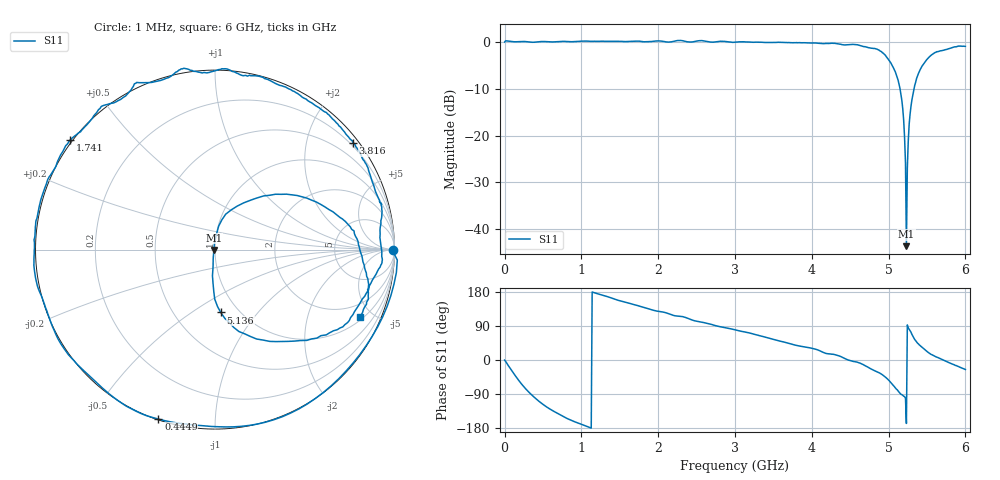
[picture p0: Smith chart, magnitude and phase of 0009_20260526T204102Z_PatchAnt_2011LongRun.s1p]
# Hz S RI R 50
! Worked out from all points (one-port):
!   501 points, 1 MHz to 6 GHz, reference 50 ohm
!   lowest |S11| = -43.6 dB at 5.232 GHz (marker M1), VSWR 1.01, Z = 49.4 - j0.142 ohm
!   |S11| at or under -10 dB: 5.149 GHz to 5.332 GHz (183.2 MHz wide, 3.5 % of centre)
!   S11 on the Smith chart (normalised r, x): 1 MHz: open; 444.9 MHz: 0.00, -0.72; 1.741 GHz: -0.01, +0.33; 3.816 GHz: 0.13, +2.92; 5.136 GHz: 0.83, -0.66; 6 GHz: 1.17, -4.20
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1000000  0.9894 -0.00498
8.4986e7  0.9061 -0.4311
2.16964e8  0.4674 -0.8876
3.0095e8  0.1453 -0.9847
4.44926e8  -0.315 -0.9441
7.56874e8  -0.8562 -0.5289
1.068822e9  -1.009 -0.0877
1.50075e9  -0.9236 0.4057
1.74071e9  -0.8088 0.6085
2.256624e9  -0.449 0.9241
3.0005e9  0.1807 0.9665
3.756374e9  0.7362 0.6356
3.816364e9  0.769 0.5951
4.308282e9  0.9288 0.2261
4.50025e9  0.9293 -0.0235
4.86019e9  0.6961 -0.4367
5.028162e9  0.3047 -0.5114
5.136144e9  0.0321 -0.3503
5.184136e9  -0.0104 -0.1941
5.196134e9  -0.0142 -0.1459
5.208132e9  -0.0108 -0.0952
5.232128e9  -0.00648 -0.00144
5.256124e9  0.00848 0.0866
5.268122e9  0.0205 0.131
5.292118e9  0.0598 0.1976
5.412098e9  0.3989 0.3088
5.628062e9  0.7746 0.1039
6e9  0.8059 -0.3759
